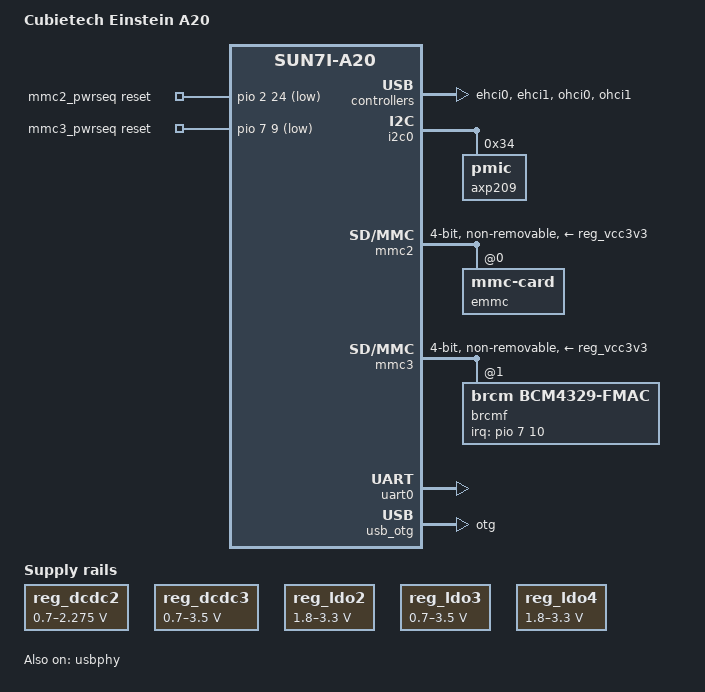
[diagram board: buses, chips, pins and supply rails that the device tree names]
/*
 * Copyright 2018 J
 *
 * J <evgenyhawk@gmail.com>
 *
 * This file is dual-licensed: you can use it either under the terms
 * of the GPL or the X11 license, at your option. Note that this dual
 * licensing only applies to this file, and not this project as a
 * whole.
 *
 *  a) This file is free software; you can redistribute it and/or
 *     modify it under the terms of the GNU General Public License as
 *     published by the Free Software Foundation; either version 2 of the
 *     License, or (at your option) any later version.
 *
 *     This file is distributed in the hope that it will be useful,
 *     but WITHOUT ANY WARRANTY; without even the implied warranty of
 *     MERCHANTABILITY or FITNESS FOR A PARTICULAR PURPOSE.  See the
 *     GNU General Public License for more details.
 *
 * Or, alternatively,
 *
 *  b) Permission is hereby granted, free of charge, to any person
 *     obtaining a copy of this software and associated documentation
 *     files (the "Software"), to deal in the Software without
 *     restriction, including without limitation the rights to use,
 *     copy, modify, merge, publish, distribute, sublicense, and/or
 *     sell copies of the Software, and to permit persons to whom the
 *     Software is furnished to do so, subject to the following
 *     conditions:
 *
 *     The above copyright notice and this permission notice shall be
 *     included in all copies or substantial portions of the Software.
 *
 *     THE SOFTWARE IS PROVIDED "AS IS", WITHOUT WARRANTY OF ANY KIND,
 *     EXPRESS OR IMPLIED, INCLUDING BUT NOT LIMITED TO THE WARRANTIES
 *     OF MERCHANTABILITY, FITNESS FOR A PARTICULAR PURPOSE AND
 *     NONINFRINGEMENT. IN NO EVENT SHALL THE AUTHORS OR COPYRIGHT
 *     HOLDERS BE LIABLE FOR ANY CLAIM, DAMAGES OR OTHER LIABILITY,
 *     WHETHER IN AN ACTION OF CONTRACT, TORT OR OTHERWISE, ARISING
 *     FROM, OUT OF OR IN CONNECTION WITH THE SOFTWARE OR THE USE OR
 *     OTHER DEALINGS IN THE SOFTWARE.
 */

/dts-v1/;
#include "sun7i-a20.dtsi"
#include "sunxi-common-regulators.dtsi"

#include <dt-bindings/gpio/gpio.h>
#include <dt-bindings/input/input.h>
#include <dt-bindings/interrupt-controller/irq.h>
#include <dt-bindings/pinctrl/sun4i-a10.h>

/ {
	model = "Cubietech Einstein A20";
	compatible = "cubietech,einstein", "allwinner,sun7i-a20";

	aliases {
		serial0 = &uart0;
	};

	chosen {
		stdout-path = "serial0:115200n8";
	};

	mmc2_pwrseq: mmc2_pwrseq {
		compatible = "mmc-pwrseq-emmc";
		pinctrl-names = "default";
		pinctrl-0 = <&mmc2_pins_nrst>;
		reset-gpios = <&pio 2 24 GPIO_ACTIVE_LOW>; /* PC24 */
	};

	mmc3_pwrseq: mmc3_pwrseq {
		compatible = "mmc-pwrseq-simple";
		reset-gpios = <&pio 7 9 GPIO_ACTIVE_LOW>; /* PH9 WIFI_EN */
	}
};

&cpu0 {
	cpu-supply = <&reg_dcdc2>;
};

&ehci0 {
	status = "okay";
};

&ehci1 {
	status = "okay";
};

&ohci0 {
	status = "okay";
};

&ohci1 {
	status = "okay";
};

&otg_sram {
	status = "okay";
};

&i2c0 {
	pinctrl-names = "default";
	pinctrl-0 = <&i2c0_pins_a>;
	status = "okay";

	axp209: pmic@34 {
		reg = <0x34>;
		interrupt-parent = <&nmi_intc>;
		interrupts = <0 IRQ_TYPE_LEVEL_LOW>;
	};
};

&mmc2 {
	pinctrl-names = "default";
	pinctrl-0 = <&mmc2_pins_a>;
	vmmc-supply = <&reg_vcc3v3>;
	bus-width = <4>;
	non-removable;
	mmc-pwrseq = <&mmc2_pwrseq>;
	status = "okay";

	emmc: emmc@0 {
		reg = <0>;
		compatible = "mmc-card";
		broken-hpi;
	};
};

&mmc3 {
	pinctrl-names = "default";
	pinctrl-0 = <&mmc3_pins_a>;
	vmmc-supply = <&reg_vcc3v3>;
	mmc-pwrseq = <&mmc3_pwrseq>;
	bus-width = <4>;
	non-removable;
	status = "okay";

	brcmf: bcrmf@1 {
		reg = <1>;
		compatible = "brcm,bcm4329-fmac";
		interrupt-parent = <&pio>;
		interrupts = <7 10 IRQ_TYPE_LEVEL_LOW>; /* PH10 / EINT10 */
		interrupt-names = "host-wake";
	};
};

&mmc3_pins_a {
	/* AP6210 requires pull-up */
	allwinner,pull = <SUN4I_PINCTRL_PULL_UP>;
};

&pio {
	mmc2_pins_nrst: mmc2-rst-pin {
		allwinner,pins = "PC24";
		allwinner,function = "gpio_out";
		allwinner,drive = <SUN4I_PINCTRL_10_MA>;
		allwinner,pull = <SUN4I_PINCTRL_NO_PULL>;
	};
};

#include "axp209.dtsi"

&ac_power_supply {
	status = "okay";
};

&usb_power_supply {
	status = "okay";
};

&reg_dcdc2 {
	regulator-always-on;
	regulator-min-microvolt = <700000>;
	regulator-max-microvolt = <2275000>;
	regulator-name = "vdd-cpu";
};

&reg_dcdc3 {
	regulator-always-on;
	regulator-min-microvolt = <700000>;
	regulator-max-microvolt = <3500000>;
	regulator-name = "vdd-core";
};

&reg_ldo1 {
    regulator-always-on;
	regulator-name = "vdd-rtc";
};

&reg_ldo2 {
	regulator-always-on;
	regulator-min-microvolt = <1800000>;
	regulator-max-microvolt = <3300000>;
	regulator-name = "vdd-avcc";
};

&reg_ldo3 {
	regulator-always-on;
	regulator-min-microvolt = <700000>;
	regulator-max-microvolt = <3500000>;
	regulator-name = "vdd-csi0-io";
};

&reg_ldo4 {
	regulator-always-on;
	regulator-min-microvolt = <1800000>;
	regulator-max-microvolt = <3300000>;
	regulator-name = "vdd-csi1-io";
};

&uart0 {
	pinctrl-names = "default";
	pinctrl-0 = <&uart0_pins_a>;
	status = "okay";
};

&usb_otg {
	dr_mode = "otg";
	status = "okay";
};

&usbphy {
	pinctrl-names = "default";
	usb0_id_det-gpios = <&pio 7 4 GPIO_ACTIVE_HIGH>; /* PH4 */
	status = "okay";
};

